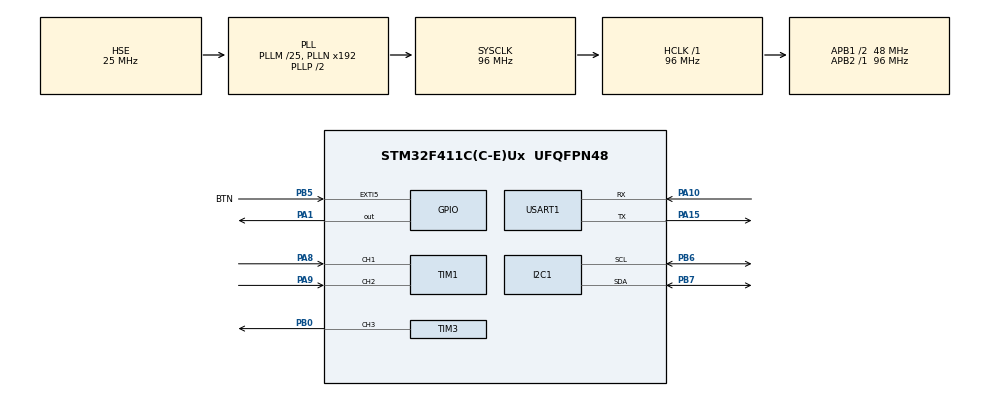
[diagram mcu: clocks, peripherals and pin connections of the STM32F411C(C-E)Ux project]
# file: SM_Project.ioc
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Mcu.Family=STM32F4
Mcu.Name=STM32F411C(C-E)Ux
Mcu.Package=UFQFPN48
NVIC.EXTI9_5_IRQn=true\:0\:0\:false\:false\:true\:true\:true\:true
NVIC.PriorityGroup=NVIC_PRIORITYGROUP_4
NVIC.TIM2_IRQn=true\:0\:0\:false\:false\:true\:true\:true\:true
PA1.GPIO_ModeDefaultOutputPP=GPIO_MODE_OUTPUT_OD
PA1.GPIO_PuPd=GPIO_NOPULL
PA1.Signal=GPIO_Output
PA10.Mode=Asynchronous
PA10.Signal=USART1_RX
PA15.Mode=Asynchronous
PA15.Signal=USART1_TX
PA8.Signal=S_TIM1_CH1
PA9.Signal=S_TIM1_CH2
PB0.Signal=S_TIM3_CH3
PB5.GPIO_Label=BTN
PB5.Signal=GPXTI5
PB6.Mode=I2C
PB6.Signal=I2C1_SCL
PB7.Mode=I2C
PB7.Signal=I2C1_SDA
PH0\ -\ OSC_IN.Mode=HSE-External-Oscillator
PH0\ -\ OSC_IN.Signal=RCC_OSC_IN
PH1\ -\ OSC_OUT.Mode=HSE-External-Oscillator
PH1\ -\ OSC_OUT.Signal=RCC_OSC_OUT
ProjectManager.HeapSize=0x200
ProjectManager.StackSize=0x400
ProjectManager.TargetToolchain=STM32CubeIDE
RCC.48MHZClocksFreq_Value=48000000
RCC.AHBFreq_Value=96000000
RCC.APB1CLKDivider=RCC_HCLK_DIV2
RCC.APB1Freq_Value=48000000
RCC.APB1TimFreq_Value=96000000
RCC.APB2Freq_Value=96000000
RCC.APB2TimFreq_Value=96000000
RCC.CortexFreq_Value=96000000
RCC.HCLKFreq_Value=96000000
RCC.HSE_VALUE=25000000
RCC.HSI_VALUE=16000000
RCC.LSE_VALUE=32768
RCC.PLLM=25
RCC.PLLSourceVirtual=RCC_PLLSOURCE_HSE
RCC.SYSCLKFreq_VALUE=96000000
RCC.SYSCLKSource=RCC_SYSCLKSOURCE_PLLCLK
RCC.VCOOutputFreq_Value=192000000
SH.S_TIM1_CH1.0=TIM1_CH1,Encoder_Interface
SH.S_TIM1_CH2.0=TIM1_CH2,Encoder_Interface
SH.S_TIM3_CH3.0=TIM3_CH3,PWM Generation3 CH3
TIM1.EncoderMode=TIM_ENCODERMODE_TI12
TIM2.Period=9
TIM2.Prescaler=95
TIM3.Channel-PWM\ Generation3\ CH3=TIM_CHANNEL_3
TIM3.Period=959
TIM3.Prescaler=3
TIM3.Pulse-PWM\ Generation3\ CH3=500
USART1.VirtualMode=VM_ASYNC
VP_TIM2_VS_ClockSourceINT.Mode=Internal
board=custom

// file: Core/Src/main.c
/* USER CODE BEGIN Header */
/**
  ******************************************************************************
  * @file           : main.c
  * @brief          : Main program body, Fan Control System with PID Regulation and OLED Interface.
  * * It features two operating modes:
  * - Automatic: Temperature regulated via a PID controller.
  * - Manual: Direct PWM duty cycle control via a rotary encoder.
  * Telemetry data is broadcasted over USART1 with a CRC8 checksum for integrity.
  * @author         : Oleg Swierblewski, Dawid Sobieska
  * @date           : 02.02.2026
  ******************************************************************************
  * @attention
  *
  * Copyright (c) 2025 STMicroelectronics.
  * All rights reserved.
  *
  * This software is licensed under terms that can be found in the LICENSE file
  * in the root directory of this software component.
  * If no LICENSE file comes with this software, it is provided AS-IS.
  *
  ******************************************************************************
  */
/* USER CODE END Header */
#include "main.h"

/* USER CODE BEGIN Includes */
#include "pwm.h"
#include "ssd1306.h"
#include "ssd1306_fonts.h"
#include "sensors.h"
#include "pid.h"
#include <string.h>
#include <stdio.h>
/* USER CODE END Includes */

I2C_HandleTypeDef hi2c1;

TIM_HandleTypeDef htim1;
TIM_HandleTypeDef htim2;
TIM_HandleTypeDef htim3;

UART_HandleTypeDef huart1;

/* USER CODE BEGIN PV */

PWM_Handle_TypeDef fan_pwm;
PID_Controller fanPID;

/** @defgroup System_State_Variables System State Variables
 * @brief Core variables managing the system's physical state and control logic.
 * @{ */
volatile float duty = 30.0f;          /**< Current PWM duty cycle (0.0% to 100.0%). */
volatile float temperature;           /**< Real-time temperature reading from DS18B20 sensor. */
float setpoint = 25.0f;               /**< Target temperature for the PID controller in Auto mode. */
_Bool manual = 0;                     /**< Operational mode flag: 0 = Automatic (PID), 1 = Manual (PWM). */
/** @} */

unsigned int last_encoder_val = 0;

/* USER CODE END PV */

void SystemClock_Config(void);
static void MX_GPIO_Init(void);
static void MX_TIM3_Init(void);
static void MX_I2C1_Init(void);
static void MX_USART1_UART_Init(void);
static void MX_TIM2_Init(void);
static void MX_TIM1_Init(void);

/* USER CODE BEGIN 0 */

/**
 * @brief Calculates a 8-bit Cyclic Redundancy Check (CRC8).
 * @details Uses the polynomial 0x07 (CRC-8-CCITT). Ensures data integrity for UART transmission.
 * @param data: Pointer to the data array.
 * @param len: Length of the data in bytes.
 * @return Calculated CRC8 checksum.
 */
uint8_t Compute_CRC8(uint8_t *data, uint16_t len) {
    uint8_t crc = 0x00;
    for (uint16_t i = 0; i < len; i++) {
        crc ^= data[i];
        for (uint8_t j = 0; j < 8; j++) {
            if (crc & 0x80) {
                crc = (crc << 1) ^ 0x07;
            } else {
                crc <<= 1;
            }
        }
    }
    return crc;
}

/**
 * @brief External Interrupt Callback for user input.
 * @details Handles the mode toggle (Manual/Auto) when the BTN_Pin is pressed.
 * Implements a 300ms software debounce timer.
 * @param GPIO_Pin: The pin that triggered the interrupt.
 */
void HAL_GPIO_EXTI_Callback(uint16_t GPIO_Pin)
{
  if(GPIO_Pin == BTN_Pin)
  {
	  uint32_t current_time = HAL_GetTick();

	  if (current_time - last_interrupt_time > 300)
	  {
		  manual=!manual;
		  last_interrupt_time = current_time;
	  }
  }
}

void HAL_TIM_PeriodElapsedCallback(TIM_HandleTypeDef *htim) {
  if (htim->Instance == TIM2) {
    ow_callback(&ds18.ow);
  }
}

/**
 * @brief Renders the User Interface on the SSD1306 OLED display.
 * @details Dynamically updates the screen based on the @ref manual flag.
 * - In **Manual mode**: Focuses on showing the PWM duty cycle.
 * - In **Auto mode**: Highlights the Target Setpoint and Current Temperature.
 * @param bufor: Temporary character buffer for string formatting.
 */
void renderScreen(char *bufor){
	ssd1306_Fill(Black);
	ssd1306_SetCursor(115, 0);
	if (manual) {
		ssd1306_WriteChar('M', Font_7x10, White);
	} else {
		ssd1306_WriteChar('A', Font_7x10, White);
	}

	if(manual){
//		sprintf(bufor, "PWM: %d%%", (int)duty);
//		ssd1306_SetCursor(5, 5);
//		ssd1306_WriteString(bufor, Font_7x10, White);

		sprintf(bufor, "CUR: %.1f C", temperature);
		ssd1306_SetCursor(5, 5);
		ssd1306_WriteString(bufor, Font_7x10, White);

		sprintf(bufor, "PWM: %d%%", (int)duty);
		ssd1306_SetCursor(20, 40);
		ssd1306_WriteString(bufor, Font_11x18, White);

		ssd1306_UpdateScreen();
	}
	else{
		sprintf(bufor, "PWM: %d%%", (int)duty);
		ssd1306_SetCursor(5, 5);
		ssd1306_WriteString(bufor, Font_7x10, White);

//		sprintf(bufor, "SET: %.1f C", setpoint);
//		ssd1306_SetCursor(5, 5);
//		ssd1306_WriteString(bufor, Font_7x10, White);

		sprintf(bufor, "CUR: %.1f C", temperature);
		ssd1306_SetCursor(5, 20);
		ssd1306_WriteString(bufor, Font_7x10, White);

		sprintf(bufor, "SET: %.1f C", setpoint);
		ssd1306_SetCursor(5, 40);
		ssd1306_WriteString(bufor, Font_11x18, White);

//		sprintf(bufor, "PWM: %d%%", (int)duty);
//		ssd1306_SetCursor(20, 40);
//		ssd1306_WriteString(bufor, Font_11x18, White);

		ssd1306_UpdateScreen();
	}
}

/* USER CODE END 0 */

int main(void)
{

  /* MCU Configuration--------------------------------------------------------*/

  /* Reset of all peripherals, Initializes the Flash interface and the Systick. */
  HAL_Init();

  /* Configure the system clock */
  SystemClock_Config();

  /* Initialize all configured peripherals */
  MX_GPIO_Init();
  MX_TIM3_Init();
  MX_I2C1_Init();
  MX_USART1_UART_Init();
  MX_TIM2_Init();
  MX_TIM1_Init();
  /* USER CODE BEGIN 2 */

  Sensors_Init(&htim2);
  PID_Init(&fanPID, 20.0f, 0.1f, 1.0f, 0.0f, 100.0f);

  ssd1306_Init();

  fan_pwm.Timer = &htim3;
  fan_pwm.Channel = TIM_CHANNEL_3;
  fan_pwm.Duty = duty;

  PWM_Init(&fan_pwm);
  //DO NOT CHANGE ORDER
  HAL_TIM_PWM_Start(&htim3, TIM_CHANNEL_3);
  HAL_TIM_Encoder_Start(&htim1, TIM_CHANNEL_ALL);

  char bufor[32];
  char uart_payload[32];
  char uart_final_frame[40];

  /* USER CODE END 2 */

  /* Infinite loop */
  /* USER CODE BEGIN WHILE */
  while (1)
  {
	  int32_t current_encoder_val = __HAL_TIM_GET_COUNTER(&htim1);
	  if (current_encoder_val != last_encoder_val)
	  {
		  int16_t diff = (int16_t)(current_encoder_val - last_encoder_val);
		  float step = (diff > 0) ? 1.0f : -1.0f;

		  if (manual) {
			  duty += step * 1.0f;
			  if (duty > 100.0f) duty = 100.0f;
			  if (duty < 0.0f)   duty = 0.0f;
		  } else {
			  setpoint += step * 0.5f;
			  if (setpoint > 45.0f) setpoint = 45.0f;
			  if (setpoint < 25.0f) setpoint = 25.0f;
		  }
		  last_encoder_val = current_encoder_val;
	  }

	  Sensors_Process();
	  temperature = Sensors_GetTemperature();

	  if (!manual) {
		  duty = PID_Compute(&fanPID, setpoint, temperature, 0.2f);
	  }

	  PWM_WriteDuty(&fan_pwm, duty);

	  renderScreen(bufor);

	  transmit_counter++;
	  if (transmit_counter >= 50) {
	      int payload_len = sprintf(uart_payload, "%05.2f;%05.2f;%03.0f", temperature, setpoint, duty);
	      uint8_t crc = Compute_CRC8((uint8_t*)uart_payload, payload_len);
	      int final_len = sprintf(uart_final_frame, "%s;%02X\r\n", uart_payload, crc);
	      HAL_UART_Transmit(&huart1, (uint8_t*)uart_final_frame, final_len, HAL_MAX_DELAY);

	      transmit_counter = 0;
	  }

	  HAL_Delay(99);

    /* USER CODE END WHILE */

  }
}

void SystemClock_Config(void)
{
  RCC_OscInitTypeDef RCC_OscInitStruct = {0};
  RCC_ClkInitTypeDef RCC_ClkInitStruct = {0};

  /** Configure the main internal regulator output voltage
  */
  __HAL_RCC_PWR_CLK_ENABLE();
  __HAL_PWR_VOLTAGESCALING_CONFIG(PWR_REGULATOR_VOLTAGE_SCALE1);

  /** Initializes the RCC Oscillators according to the specified parameters
  * in the RCC_OscInitTypeDef structure.
  */
  RCC_OscInitStruct.OscillatorType = RCC_OSCILLATORTYPE_HSE;
  RCC_OscInitStruct.HSEState = RCC_HSE_ON;
  RCC_OscInitStruct.PLL.PLLState = RCC_PLL_ON;
  RCC_OscInitStruct.PLL.PLLSource = RCC_PLLSOURCE_HSE;
  RCC_OscInitStruct.PLL.PLLM = 25;
  RCC_OscInitStruct.PLL.PLLN = 192;
  RCC_OscInitStruct.PLL.PLLP = RCC_PLLP_DIV2;
  RCC_OscInitStruct.PLL.PLLQ = 4;
  if (HAL_RCC_OscConfig(&RCC_OscInitStruct) != HAL_OK)
  {
    Error_Handler();
  }

  /** Initializes the CPU, AHB and APB buses clocks
  */
  RCC_ClkInitStruct.ClockType = RCC_CLOCKTYPE_HCLK|RCC_CLOCKTYPE_SYSCLK
                              |RCC_CLOCKTYPE_PCLK1|RCC_CLOCKTYPE_PCLK2;
  RCC_ClkInitStruct.SYSCLKSource = RCC_SYSCLKSOURCE_PLLCLK;
  RCC_ClkInitStruct.AHBCLKDivider = RCC_SYSCLK_DIV1;
  RCC_ClkInitStruct.APB1CLKDivider = RCC_HCLK_DIV2;
  RCC_ClkInitStruct.APB2CLKDivider = RCC_HCLK_DIV1;

  if (HAL_RCC_ClockConfig(&RCC_ClkInitStruct, FLASH_LATENCY_3) != HAL_OK)
  {
    Error_Handler();
  }
}

static void MX_I2C1_Init(void)
{

  hi2c1.Instance = I2C1;
  hi2c1.Init.ClockSpeed = 100000;
  hi2c1.Init.DutyCycle = I2C_DUTYCYCLE_2;
  hi2c1.Init.OwnAddress1 = 0;
  hi2c1.Init.AddressingMode = I2C_ADDRESSINGMODE_7BIT;
  hi2c1.Init.DualAddressMode = I2C_DUALADDRESS_DISABLE;
  hi2c1.Init.OwnAddress2 = 0;
  hi2c1.Init.GeneralCallMode = I2C_GENERALCALL_DISABLE;
  hi2c1.Init.NoStretchMode = I2C_NOSTRETCH_DISABLE;
  if (HAL_I2C_Init(&hi2c1) != HAL_OK)
  {
    Error_Handler();
  }

}

static void MX_TIM1_Init(void)
{

  TIM_Encoder_InitTypeDef sConfig = {0};
  TIM_MasterConfigTypeDef sMasterConfig = {0};

  htim1.Instance = TIM1;
  htim1.Init.Prescaler = 0;
  htim1.Init.CounterMode = TIM_COUNTERMODE_UP;
  htim1.Init.Period = 65535;
  htim1.Init.ClockDivision = TIM_CLOCKDIVISION_DIV1;
  htim1.Init.RepetitionCounter = 0;
  htim1.Init.AutoReloadPreload = TIM_AUTORELOAD_PRELOAD_DISABLE;
  sConfig.EncoderMode = TIM_ENCODERMODE_TI12;
  sConfig.IC1Polarity = TIM_ICPOLARITY_RISING;
  sConfig.IC1Selection = TIM_ICSELECTION_DIRECTTI;
  sConfig.IC1Prescaler = TIM_ICPSC_DIV1;
  sConfig.IC1Filter = 0;
  sConfig.IC2Polarity = TIM_ICPOLARITY_RISING;
  sConfig.IC2Selection = TIM_ICSELECTION_DIRECTTI;
  sConfig.IC2Prescaler = TIM_ICPSC_DIV1;
  sConfig.IC2Filter = 0;
  if (HAL_TIM_Encoder_Init(&htim1, &sConfig) != HAL_OK)
  {
    Error_Handler();
  }
  sMasterConfig.MasterOutputTrigger = TIM_TRGO_RESET;
  sMasterConfig.MasterSlaveMode = TIM_MASTERSLAVEMODE_DISABLE;
  if (HAL_TIMEx_MasterConfigSynchronization(&htim1, &sMasterConfig) != HAL_OK)
  {
    Error_Handler();
  }

}

static void MX_TIM2_Init(void)
{

  TIM_ClockConfigTypeDef sClockSourceConfig = {0};
  TIM_MasterConfigTypeDef sMasterConfig = {0};

  htim2.Instance = TIM2;
  htim2.Init.Prescaler = 95;
  htim2.Init.CounterMode = TIM_COUNTERMODE_UP;
  htim2.Init.Period = 9;
  htim2.Init.ClockDivision = TIM_CLOCKDIVISION_DIV1;
  htim2.Init.AutoReloadPreload = TIM_AUTORELOAD_PRELOAD_DISABLE;
  if (HAL_TIM_Base_Init(&htim2) != HAL_OK)
  {
    Error_Handler();
  }
  sClockSourceConfig.ClockSource = TIM_CLOCKSOURCE_INTERNAL;
  if (HAL_TIM_ConfigClockSource(&htim2, &sClockSourceConfig) != HAL_OK)
  {
    Error_Handler();
  }
  sMasterConfig.MasterOutputTrigger = TIM_TRGO_RESET;
  sMasterConfig.MasterSlaveMode = TIM_MASTERSLAVEMODE_DISABLE;
  if (HAL_TIMEx_MasterConfigSynchronization(&htim2, &sMasterConfig) != HAL_OK)
  {
    Error_Handler();
  }

}

static void MX_TIM3_Init(void)
{

  TIM_MasterConfigTypeDef sMasterConfig = {0};
  TIM_OC_InitTypeDef sConfigOC = {0};

  htim3.Instance = TIM3;
  htim3.Init.Prescaler = 3;
  htim3.Init.CounterMode = TIM_COUNTERMODE_UP;
  htim3.Init.Period = 959;
  htim3.Init.ClockDivision = TIM_CLOCKDIVISION_DIV1;
  htim3.Init.AutoReloadPreload = TIM_AUTORELOAD_PRELOAD_DISABLE;
  if (HAL_TIM_PWM_Init(&htim3) != HAL_OK)
  {
    Error_Handler();
  }
  sMasterConfig.MasterOutputTrigger = TIM_TRGO_RESET;
  sMasterConfig.MasterSlaveMode = TIM_MASTERSLAVEMODE_DISABLE;
  if (HAL_TIMEx_MasterConfigSynchronization(&htim3, &sMasterConfig) != HAL_OK)
  {
    Error_Handler();
  }
  sConfigOC.OCMode = TIM_OCMODE_PWM1;
  sConfigOC.Pulse = 500;
  sConfigOC.OCPolarity = TIM_OCPOLARITY_HIGH;
  sConfigOC.OCFastMode = TIM_OCFAST_DISABLE;
  if (HAL_TIM_PWM_ConfigChannel(&htim3, &sConfigOC, TIM_CHANNEL_3) != HAL_OK)
  {
    Error_Handler();
  }
  HAL_TIM_MspPostInit(&htim3);

}

static void MX_USART1_UART_Init(void)
{

  huart1.Instance = USART1;
  huart1.Init.BaudRate = 115200;
  huart1.Init.WordLength = UART_WORDLENGTH_8B;
  huart1.Init.StopBits = UART_STOPBITS_1;
  huart1.Init.Parity = UART_PARITY_NONE;
  huart1.Init.Mode = UART_MODE_TX_RX;
  huart1.Init.HwFlowCtl = UART_HWCONTROL_NONE;
  huart1.Init.OverSampling = UART_OVERSAMPLING_16;
  if (HAL_UART_Init(&huart1) != HAL_OK)
  {
    Error_Handler();
  }

}

static void MX_GPIO_Init(void)
{
  GPIO_InitTypeDef GPIO_InitStruct = {0};

  /* GPIO Ports Clock Enable */
  __HAL_RCC_GPIOH_CLK_ENABLE();
  __HAL_RCC_GPIOA_CLK_ENABLE();
  __HAL_RCC_GPIOB_CLK_ENABLE();

  /*Configure GPIO pin Output Level */
  HAL_GPIO_WritePin(GPIOA, GPIO_PIN_1, GPIO_PIN_RESET);

  /*Configure GPIO pin : PA1 */
  GPIO_InitStruct.Pin = GPIO_PIN_1;
  GPIO_InitStruct.Mode = GPIO_MODE_OUTPUT_OD;
  GPIO_InitStruct.Pull = GPIO_NOPULL;
  GPIO_InitStruct.Speed = GPIO_SPEED_FREQ_LOW;
  HAL_GPIO_Init(GPIOA, &GPIO_InitStruct);

  /*Configure GPIO pin : BTN_Pin */
  GPIO_InitStruct.Pin = BTN_Pin;
  GPIO_InitStruct.Mode = GPIO_MODE_IT_RISING;
  GPIO_InitStruct.Pull = GPIO_NOPULL;
  HAL_GPIO_Init(BTN_GPIO_Port, &GPIO_InitStruct);

  /* EXTI interrupt init*/
  HAL_NVIC_SetPriority(EXTI9_5_IRQn, 0, 0);
  HAL_NVIC_EnableIRQ(EXTI9_5_IRQn);

}

void Error_Handler(void)
{
  __disable_irq();
  while (1)
  {
  }
}
